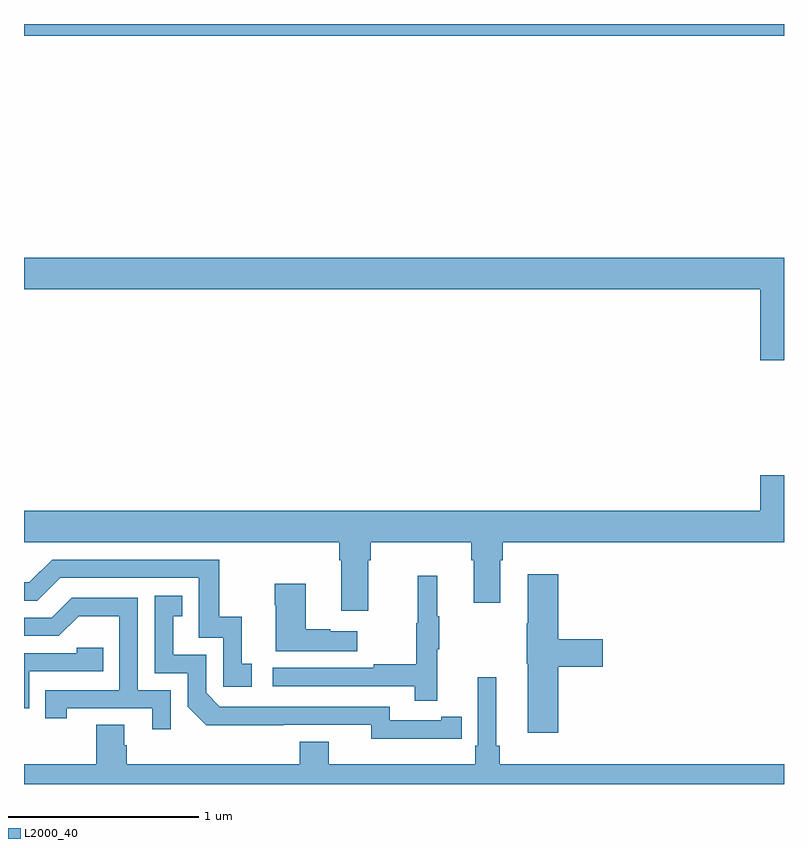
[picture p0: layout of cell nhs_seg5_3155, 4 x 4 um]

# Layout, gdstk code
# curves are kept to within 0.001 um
import gdstk
lib = gdstk.Library(unit=1e-6, precision=1e-09)
def R(c, l, rs):  # rectangles x0, y0, x1, y1
    for r in rs: c.add(gdstk.rectangle(r[:2], r[2:], *l))
def P(c, l, *ps):  # polygons
    for p in ps: c.add(gdstk.Polygon(p, *l))
L2000_40 = (2000, 40)

nhs_seg5_3155 = lib.new_cell('nhs_seg5_3155')
R(nhs_seg5_3155, L2000_40, [(293,880.736,297,880.799)])
P(nhs_seg5_3155, L2000_40, [(297,879.568),(293,879.568),(293,879.404),(296.876,879.404),(296.876,879.03),(297,879.03)],
  [(294.811,877.976),(294.824,877.976),(294.824,878.072),(295.355,878.072),(295.355,877.976),(295.367,877.976),(295.367,877.752),(295.507,877.752),(295.507,877.976),(295.52,877.976),(295.52,878.072),(297,878.072),(297,878.425),(296.876,878.425),(296.876,878.236),(293,878.236),(293,878.072),(294.659,878.072),(294.659,877.976),(294.671,877.976),(294.671,877.71),(294.811,877.71)],
  [(294.199,877.431),(294.146,877.431),(294.146,877.678),(294.028,877.678),(294.028,877.98),(293.148,877.98),(293.028,877.86),(293,877.86),(293,877.764),(293.07,877.764),(293.19,877.884),(293.919,877.884),(293.919,877.569),(294.048,877.569),(294.048,877.311),(294.199,877.311)],
  [(295.811,877.415),(296.047,877.415),(296.047,877.562),(295.811,877.562),(295.811,877.903),(295.652,877.903),(295.652,877.645),(295.645,877.645),(295.645,877.431),(295.652,877.431),(295.652,877.068),(295.811,877.068)],
  [(295.175,877.507),(295.186,877.507),(295.186,877.681),(295.175,877.681),(295.175,877.894),(295.072,877.894),(295.072,877.644),(295.065,877.644),(295.065,877.43),(294.841,877.43),(294.841,877.41),(294.309,877.41),(294.309,877.314),(295.057,877.314),(295.057,877.236),(295.175,877.236)],
  [(294.754,877.603),(294.611,877.603),(294.611,877.613),(294.484,877.613),(294.484,877.852),(294.319,877.852),(294.319,877.739),(294.326,877.739),(294.326,877.499),(294.754,877.499)],
  [(295.196,877.038),(295.304,877.038),(295.304,877.154),(295.196,877.154),(295.196,877.134),(294.924,877.134),(294.924,877.206),(294.03,877.206),(293.958,877.278),(293.958,877.479),(293.785,877.479),(293.785,877.683),(293.834,877.683),(293.834,877.789),(293.688,877.789),(293.688,877.383),(293.862,877.383),(293.862,877.206),(293.96,877.109),(294.828,877.11),(294.828,877.037)],
  [(293.772,877.293),(293.598,877.293),(293.598,877.779),(293.252,877.779),(293.147,877.674),(293,877.674),(293,877.578),(293.184,877.578),(293.288,877.682),(293.502,877.682),(293.502,877.293),(293.113,877.293),(293.113,877.146),(293.224,877.146),(293.224,877.197),(293.675,877.197),(293.675,877.086),(293.772,877.086)],
  [(293.028,877.392),(293.417,877.392),(293.417,877.515),(293.277,877.515),(293.277,877.488),(293,877.488),(293,877.197),(293.028,877.197)],
  [(295.486,877),(295.486,877.36),(295.389,877.36),(295.389,877),(295.376,877),(295.376,876.904),(294.604,876.904),(294.604,877.021),(294.452,877.021),(294.452,876.904),(293.54,876.904),(293.54,877.002),(293.527,877.002),(293.527,877.112),(293.38,877.112),(293.38,876.904),(293,876.904),(293,876.799),(297,876.799),(297,876.904),(295.505,876.904),(295.505,877)])

lib.write_gds('nhs_seg5_3155.gds')
